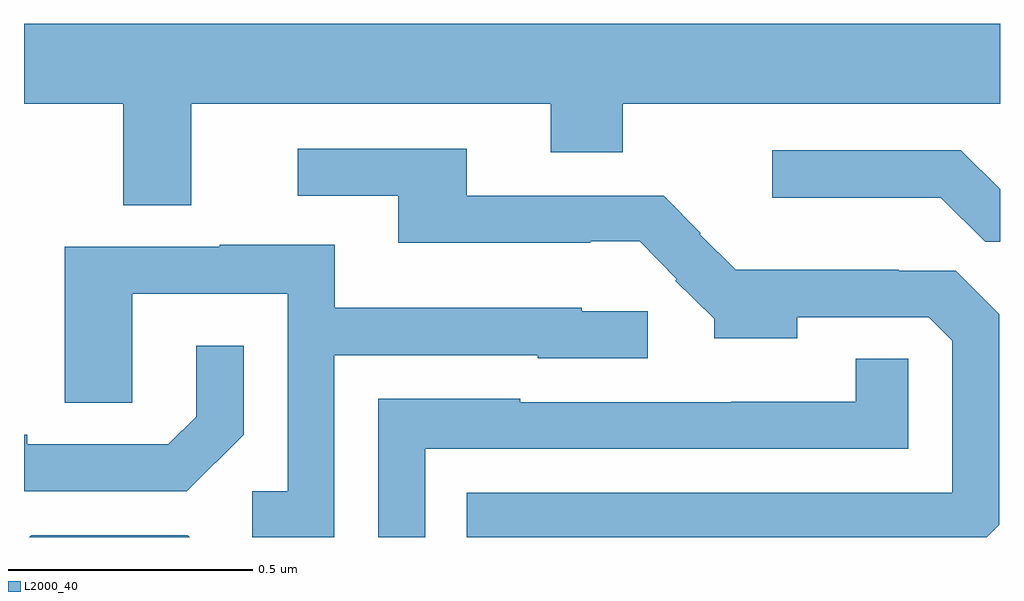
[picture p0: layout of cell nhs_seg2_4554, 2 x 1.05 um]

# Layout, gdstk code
import gdstk
lib = gdstk.Library(unit=1e-6, precision=1e-09)
def P(c, l, *ps):  # polygons
    for p in ps: c.add(gdstk.Polygon(p, *l))
L2000_40 = (2000, 40)

nhs_seg2_4554 = lib.new_cell('nhs_seg2_4554')
P(nhs_seg2_4554, L2000_40, [(168.343,595.688),(169.079,595.688),(169.079,595.589),(169.227,595.589),(169.227,595.688),(170,595.688),(170,595.852),(168,595.852),(168,595.688),(168.203,595.688),(168.203,595.48),(168.343,595.48)],
  [(169.998,594.825),(169.998,595.257),(169.909,595.346),(169.793,595.346),(169.793,595.348),(169.459,595.348),(169.385,595.421),(169.387,595.423),(169.311,595.5),(168.907,595.5),(168.907,595.596),(168.561,595.596),(168.561,595.5),(168.767,595.5),(168.767,595.403),(169.16,595.403),(169.16,595.406),(169.262,595.406),(169.338,595.329),(169.335,595.326),(169.414,595.248),(169.414,595.208),(169.585,595.208),(169.585,595.251),(169.854,595.251),(169.902,595.203),(169.902,594.891),(168.907,594.891),(168.907,594.8),(169.973,594.8)],
  [(170,595.513),(169.92,595.593),(169.533,595.593),(169.533,595.496),(169.879,595.496),(169.97,595.405),(170,595.405)],
  [(168.636,595.173),(169.053,595.173),(169.053,595.167),(169.278,595.167),(169.278,595.263),(169.143,595.263),(169.143,595.27),(168.637,595.27),(168.637,595.399),(168.401,595.399),(168.401,595.395),(168.083,595.395),(168.083,595.075),(168.222,595.075),(168.222,595.299),(168.54,595.299),(168.54,594.894),(168.468,594.894),(168.468,594.8),(168.636,594.8)],
  [(168.45,595.01),(168.45,595.192),(168.353,595.192),(168.353,595.047),(168.296,594.99),(168.007,594.99),(168.007,595.01),(168,595.01),(168,594.894),(168.334,594.894)],
  [(168.822,594.981),(169.812,594.981),(169.812,595.166),(169.704,595.166),(169.704,595.078),(169.449,595.078),(169.449,595.077),(169.017,595.077),(169.017,595.084),(168.726,595.084),(168.726,594.8),(168.822,594.8)],
  [(168.336,594.804),(168.015,594.804),(168.011,594.8),(168.34,594.8)])

lib.write_gds('nhs_seg2_4554.gds')
